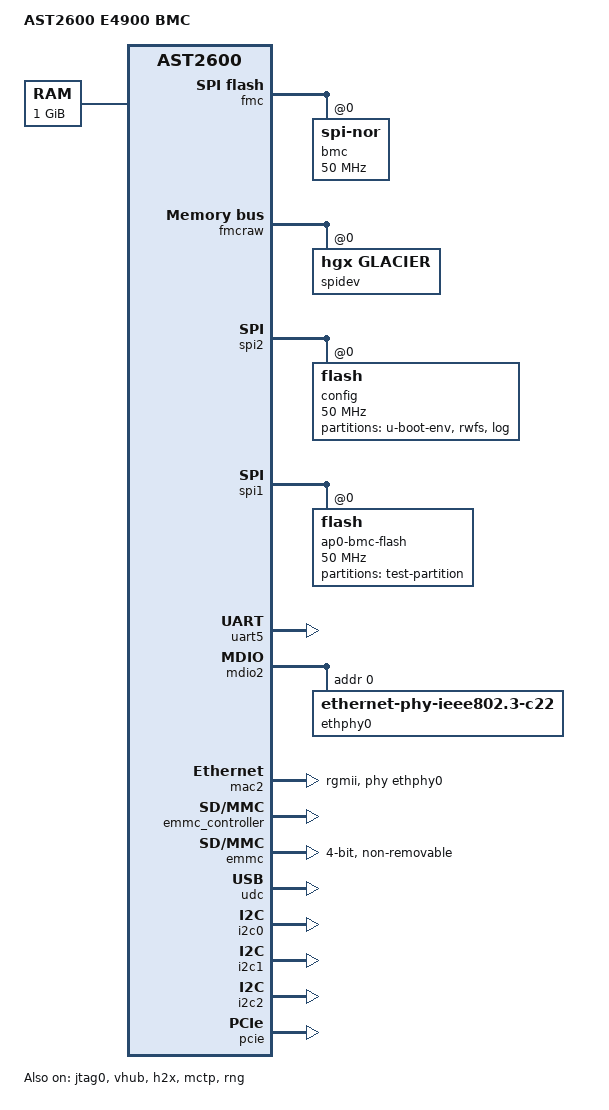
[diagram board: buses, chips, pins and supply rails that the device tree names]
// SPDX-License-Identifier: GPL-2.0+
/dts-v1/;

#include "aspeed-g6.dtsi"
#include <dt-bindings/gpio/aspeed-gpio.h>
#include <dt-bindings/leds/common.h>

/ {
	model = "AST2600 E4900 BMC";
	compatible = "aspeed,ast2600";

	aliases {
		serial4 = &uart5;
	};

	chosen {
		stdout-path = &uart5;
		bootargs = "console=tty0 console=ttyS4,115200 earlyprintk";
	};

	memory@80000000 {
		reg = <0x80000000 0x40000000>;
	};

        power-gpios{
                n2-gpios = <&gpio0 ASPEED_GPIO(N, 2) (GPIO_ACTIVE_HIGH|GPIO_PULL_UP)>;
                n3-gpios = <&gpio0 ASPEED_GPIO(N, 3) (GPIO_ACTIVE_HIGH|GPIO_PULL_UP)>;
        };
    reserved-memory {
    #address-cells = <2>;
    #size-cells = <2>;
    ranges;

    ramoops@0xbc000000 {
            compatible = "ramoops";
            reg = <0 0xbc000000 0 0x100000>; // 1MB at 0xbc000000
            record-size = <0x10000>; // 64kB per record
            console-size = <0x10000>; // 64kB for console output
            pmsg-size = <0x1000>; // 4kB for user messages
    };
};

};

&gpio0 {
        gpio-line-names =
        /*A0-A7*/       "","","","","","","","",
        /*B0-B7*/       "","","","","","","","",
        /*C0-C7*/       "","","","","","","","",
        /*D0-D7*/       "","","","","","","","",
        /*E0-E7*/       "","","","","","","","",
        /*F0-F7*/       "","","","","","","","",
        /*G0-G7*/       "","","","","","","","",
        /*H0-H7*/       "","","","","","","","",
        /*I0-I7*/       "","","","","","","","",
        /*J0-J7*/       "","","","","","","","",
        /*K0-K7*/       "","BMC_RGMII_RST_L-O","","","","","","",
        /*L0-L7*/       "","","","","","","","",
        /*M0-M7*/       "","","","","","","","",
        /*N0-N7*/       "","","","","","","","",
        /*O0-O7*/       "","","","","","","","",
        /*P0-P7*/       "","","","","","","","",
        /*Q0-Q7*/       "","","","","","","","",
        /*R0-R7*/       "","","","","","","","",
        /*S0-S7*/       "","","","","","","","",
        /*T0-T7*/       "","","","","","","","",
        /*U0-U7*/       "","","","","","","","",
        /*V0-V7*/       "","","","","","","","",
        /*W0-W7*/       "","","","","","","","",
        /*X0-X7*/       "","","","","","","","",
        /*Y0-Y7*/       "","","","","","","","",
        /*Z0-Z7*/       "","","","","","","","";
};
&gpio1 {
        gpio-line-names =
        /*AA0-AA7*/     "","","","","","","","",
        /*AB0-AB7*/     "","","","","","","","",
        /*AC0-AC7*/     "","","","","","","","",
        /*AD0-AD7*/     "","","","","","","","",
        /*AE0-AE7*/     "","","","","","","","";
};

// Enabled Primary flash on FMC for bring up activity
&fmc {
   status = "okay";
   flash@0 {
        status = "okay";
        compatible = "jedec,spi-nor";
        label = "bmc";
        spi-max-frequency = <50000000>;
#include "aspeed-bmc-nvidia-vulcan-flash-layout-64.dtsi"
   };
};

&fmcraw {
    status = "okay";
    spidev@0 {
        compatible = "hgx,glacier";
        status = "okay";
    };
};

&spi2 {
    status = "okay";
    pinctrl-names = "default";
    pinctrl-0 = <&pinctrl_spi2_default>;

    flash@0 {
        status = "okay";
        label = "config";
        spi-max-frequency = <50000000>;
        partitions {
            compatible = "fixed-partitions";
            #address-cells = <1>;
            #size-cells = <1>;

            u-boot-env@0 {
                reg = <0x0 0x40000>;         // 0.25 MB
                label = "u-boot-env";
            };

            rwfs@40000 {
                reg = <0x40000 0x1000000>;   // 16 MB
                label = "rwfs";
            };

            log@3800000 {
                reg = <0x3800000 0xc800000>; // 200 MB
                label = "log";
            };
        };
   };
};

&spi1 {
    status = "okay";
    pinctrl-names = "default";
    pinctrl-0 = <&pinctrl_spi1_default &pinctrl_spi1cs1_default &pinctrl_qspi1_default>;

    flash@0 {
        status = "okay";
        label = "ap0-bmc-flash";
        spi-max-frequency = <50000000>;
        spi-rx-bus-width = <4>;
        spi-tx-bus-width = <4>;
        partitions {
            compatible = "fixed-partitions";
            #address-cells = <1>;
            #size-cells = <1>;

            test-partition@0 {
                reg = <0x0 0xc800000>;         // 200 MB
                label = "test-partition";
            };
        };
   };
};

&uart5 {
	// BMC Debug Console
	status = "okay";
};

// MAC3 (per schematics, 1-based MAC1-MAC4) of AST2600 connected to external PHY
// This is "mac2" in zero-based DTS
&mdio2 {
    status = "okay";
    ethphy0: ethernet-phy@0 {
        compatible = "ethernet-phy-ieee802.3-c22";
        reg = <0>;
    };
};

&mac2 {
    status = "okay";
    pinctrl-names = "default";
    phy-mode = "rgmii";
    max-speed = <1000>;
    phy-handle = <&ethphy0>;
    pinctrl-0 = <&pinctrl_rgmii3_default>;
};

&jtag0 {
    mux-gpios = <&gpio0 50 (GPIO_ACTIVE_HIGH | GPIO_PULL_UP)>;
    status = "okay";
};

// Enable emmc
&emmc_controller {
        status = "okay";
};

&emmc {
        non-removable;
        bus-width = <4>;
        max-frequency = <52000000>;
};

/*
 * Enable port A as device (via the virtual hub) and port B as
 * host by default on the eval board. This can be easily changed
 * by replacing the override below with &ehci0 { ... } to enable
 * host on both ports.
 */

&vhub {
   status = "okay";
};
// USB 2.0 to HMC & Host BMC connectivity
&udc {
    status = "okay";
};

/*
&i2c2 {
    status = "okay";

    i2c-slave-mqueue@18 {
        compatible = "slave-mqueue";
        reg = <(I2C_OWN_SLAVE_ADDRESS | 0x18)>;
    };
};
*/

&i2c0 {             
    status = "okay";
};                  

&i2c1 {
    status = "okay";
};

// I2C3, BMC_I2C0_FPGA
&i2c2 {
    status = "okay";
    bus-frequency = <400000>;
};

/*
&i2c3 {
    status = "okay";
    // GPU Baseboard FRU
    eeprom@53 {
    compatible = "atmel,24c256";
    reg = <0x53>;
    };

    // HMC FRU
    eeprom@4e {
    compatible = "atmel,24c02";
    reg = <0x4E>;
    };
};

&i2c4 {
    status = "okay";
    rtc@32 {
        compatible = "epson,rx8130";
        reg = <0x32>;
    };
};

// HMC - FPGA Bus
&i2c6 {
    status = "okay";
};
*/

/*
// Ethernet SW
&i2c10 {
    status = "okay";
};


&i2c12 {
    status = "okay";
};

&i2c13 {
    status = "okay";
};

&i2c14 {
    status = "okay";
    lm75@48 {
        compatible = "ti,tmp75";
        reg = <0x48>;
    };
};
*/

//&i3c5 {
//        status = "okay";
//};
// PCIe RC
&pcie {
        status = "okay";

        interrupts = <GIC_SPI 168 IRQ_TYPE_LEVEL_HIGH>;

        pcie_intc0: legacy-interrupt-controller {
                interrupts = <GIC_SPI 168 IRQ_TYPE_EDGE_RISING>;
        };
};
// Bridge between AHB bus and PCIe RC.
&h2x {
        status = "okay";
};

&mctp {
    status = "okay";
};

&rng {
    status = "okay";
};
